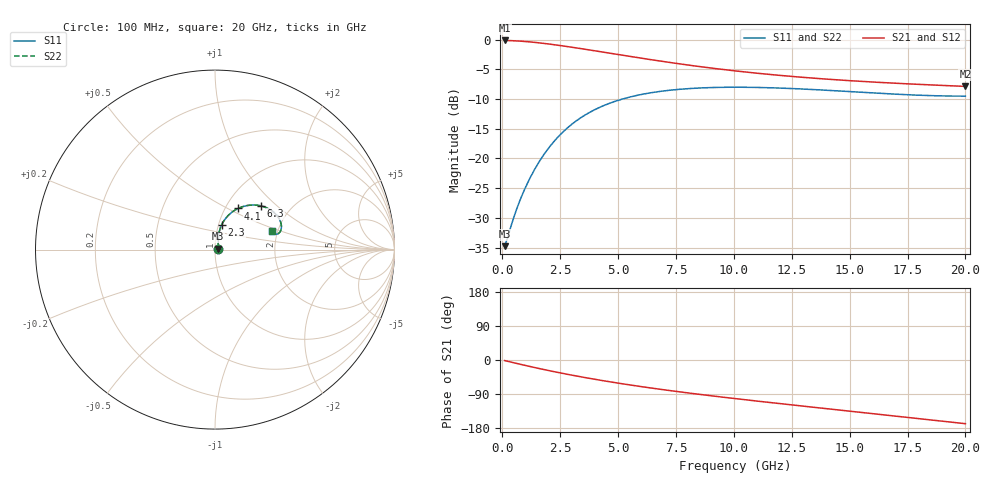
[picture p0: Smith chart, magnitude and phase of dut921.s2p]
! Touchstone file exported from HFSS 2024.1.0
!  File:  C:/UserFiles/LocalFiles/RDL_TSV_Batchsim/temp_RDL_TSV_921_1779958255.aedt
!  Generated:  05:04:31 PM May 28, 2026
!  Design:  RDL_TSV
!  Project:  temp_RDL_TSV_921_1779958255
!  Setup:  Setup1
!  Solution:  Sweep
! Variables:
!  dtsv = 10um
!  hbump = 3um
!  htsv = 56.79um
!  ldown = 441.11um
!  lrdl = 283.62um
!  p = 40
!  p1 = 46.29um
!  rhole = 10um
!  subl = 2457.81um
!  t = 450um
!  tdown = 4.05um
!  trdl = 4.44um
!  viad = 10um
!  wdown = 12.45um
!  wrdl = 11.45um
!  xbump = 18um
# GHz S MA R 50.000000
! Terminal data exported
! Port[1] = TM1_1_T1
! Port[2] = TM1_4_T1
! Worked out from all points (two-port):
!   200 points, 100 MHz to 20 GHz, reference 50 ohm
!   highest |S21| = -0.15 dB at 100 MHz (marker M1); lowest = -7.9 dB at 20 GHz (marker M2)
!   |S21| within 3 dB of the highest: start of sweep to 6.033 GHz
!   lowest |S11| = -34.8 dB at 100 MHz (marker M3), VSWR 1.04, Z = 51.8 + j0.565 ohm
!   |S11| at or under -10 dB: start of sweep to 5.2 GHz
!   |S22| runs from -34.8 to -8.0 dB; largest |S21 - S12| = 8.8e-15
!   S11 on the Smith chart (normalised r, x): 100 MHz: 1.04, +0.01; 2.3 GHz: 1.04, +0.29; 4.1 GHz: 1.15, +0.57; 6.3 GHz: 1.43, +0.80; 20 GHz: 1.86, +0.44
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0.1  0.01826 17.4  0.9823 -1.5  0.9823 -1.5  0.01826 17.4
! Gamma 0 0 0 0
! Port Impedance 50 0 50 0
0.2  0.02069 31.5  0.9815 -3.0  0.9815 -3.0  0.02069 31.5
0.6  0.03651 60.1  0.9743 -8.8  0.9743 -8.8  0.03651 60.1
0.8  0.0462 66.7  0.9689 -11.6  0.9689 -11.6  0.0462 66.7
1.1  0.06262 72.7  0.9588 -15.8  0.9588 -15.8  0.06262 72.7
1.4  0.08105 75.6  0.9466 -19.9  0.9466 -19.9  0.08105 75.6
1.7  0.1011 76.5  0.9327 -23.9  0.9327 -23.9  0.1011 76.5
2.3  0.1437 74.9  0.9015 -31.6  0.9015 -31.6  0.1437 74.9
2.9  0.1866 70.8  0.8677 -38.8  0.8677 -38.8  0.1866 70.8
3.5  0.2269 65.9  0.8329 -45.6  0.8329 -45.6  0.2269 65.9
4.1  0.263 60.7  0.7983 -52.0  0.7983 -52.0  0.263 60.7
5.1  0.3121 52.3  0.743 -62.0  0.743 -62.0  0.3121 52.4
6.3  0.3535 43.5  0.6827 -72.9  0.6827 -72.9  0.3535 43.5
6.8  0.3658 40.3  0.6599 -77.1  0.6599 -77.1  0.3659 40.3
8.4  0.3901 31.4  0.5965 -89.8  0.5965 -89.8  0.3901 31.4
10.1  0.3971 24.3  0.5437 -102.2  0.5437 -102.2  0.397 24.3
11.7  0.3922 19.3  0.5052 -113.1  0.5052 -113.1  0.3922 19.4
13.4  0.3798 15.9  0.4738 -124.4  0.4738 -124.4  0.3797 15.9
15  0.3649 14.3  0.4508 -134.9  0.4508 -134.9  0.3648 14.3
16.7  0.3494 14.2  0.4316 -146.1  0.4316 -146.1  0.3491 14.3
18.4  0.3379 15.8  0.416 -157.3  0.416 -157.3  0.3376 15.9
20  0.334 18.4  0.4034 -168.1  0.4034 -168.1  0.3337 18.4
